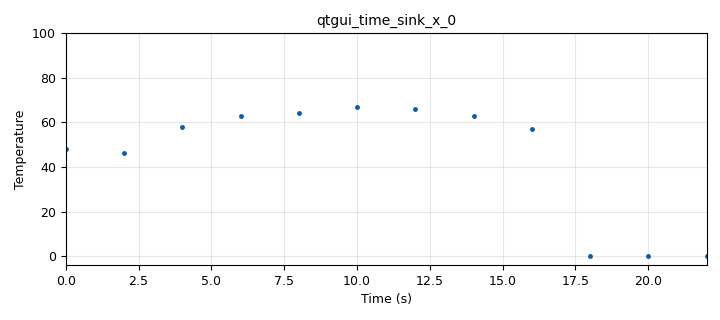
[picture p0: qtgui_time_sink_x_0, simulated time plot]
options:
  parameters:
    author: jesse.d.harris42
    generate_options: qt_gui
    id: SampleRates
    output_language: python
    title: SampleRates
  states: {}

blocks:
- name: samp_rate
  id: variable
  parameters:
    value: '0.5'
  states: {}
- name: blocks_vector_source_x_0
  id: blocks_vector_source_x
  parameters:
    repeat: 'False'
    type: float
    vector: (52, 50, 48, 48, 46, 58, 63, 64, 67, 66, 63, 57, 0, 0, 0)
  states: {}
- name: qtgui_time_sink_x_0
  id: qtgui_time_sink_x
  parameters:
    marker1: '0'
    size: '12'
    srate: samp_rate
    style1: '0'
    type: float
    ylabel: Temperature
    ymax: '100'
    ymin: '0'
    yunit: '"Deg F"'
  states: {}

connections:
- [blocks_vector_source_x_0, '0', qtgui_time_sink_x_0, '0']

metadata:
  file_format: 1
